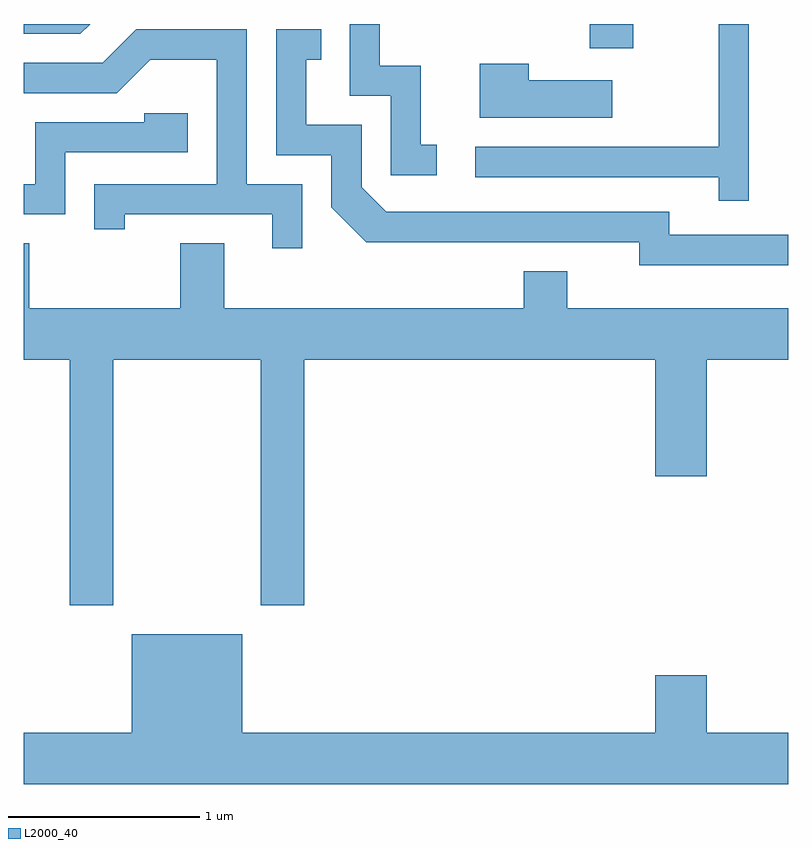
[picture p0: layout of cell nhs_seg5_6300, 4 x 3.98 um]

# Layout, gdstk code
import gdstk
lib = gdstk.Library(unit=1e-6, precision=1e-09)
def R(c, l, rs):  # rectangles x0, y0, x1, y1
    for r in rs: c.add(gdstk.rectangle(r[:2], r[2:], *l))
def P(c, l, *ps):  # polygons
    for p in ps: c.add(gdstk.Polygon(p, *l))
L2000_40 = (2000, 40)

nhs_seg5_6300 = lib.new_cell('nhs_seg5_6300')
R(nhs_seg5_6300, L2000_40, [(374.571,1493.946,374.799,1494.072)])
P(nhs_seg5_6300, L2000_40, [(373.773,1493.439),(373.689,1493.439),(373.689,1493.854),(373.474,1493.854),(373.474,1494.072),(373.316,1494.072),(373.316,1493.696),(373.531,1493.696),(373.531,1493.281),(373.773,1493.281)],
  [(371.958,1494.072),(371.611,1494.072),(371.611,1494.021),(371.907,1494.021)],
  [(375.404,1494.072),(375.246,1494.072),(375.246,1493.429),(373.973,1493.429),(373.973,1493.271),(375.246,1493.271),(375.246,1493.148),(375.404,1493.148)],
  [(373.069,1493.234),(372.779,1493.234),(372.779,1494.044),(372.199,1494.044),(372.024,1493.869),(371.611,1493.869),(371.611,1493.711),(372.097,1493.711),(372.272,1493.886),(372.621,1493.886),(372.621,1493.234),(371.981,1493.234),(371.981,1492.998),(372.139,1492.998),(372.139,1493.076),(372.911,1493.076),(372.911,1492.898),(373.069,1492.898)],
  [(375.611,1492.969),(374.989,1492.969),(374.989,1493.089),(373.507,1493.089),(373.379,1493.217),(373.379,1493.544),(373.089,1493.544),(373.089,1493.886),(373.168,1493.886),(373.168,1494.044),(372.931,1494.044),(372.931,1493.386),(373.221,1493.386),(373.221,1493.114),(373.404,1492.931),(374.831,1492.931),(374.831,1492.811),(375.611,1492.811)],
  [(374.689,1493.779),(374.254,1493.779),(374.254,1493.864),(373.996,1493.864),(373.996,1493.581),(374.689,1493.581)],
  [(371.829,1493.401),(372.469,1493.401),(372.469,1493.604),(372.241,1493.604),(372.241,1493.559),(371.671,1493.559),(371.671,1493.234),(371.611,1493.234),(371.611,1493.076),(371.829,1493.076)],
  [(372.079,1492.316),(372.851,1492.316),(372.851,1491.031),(373.079,1491.031),(373.079,1492.316),(374.916,1492.316),(374.916,1491.706),(375.184,1491.706),(375.184,1492.316),(375.611,1492.316),(375.611,1492.584),(374.454,1492.584),(374.454,1492.779),(374.226,1492.779),(374.226,1492.584),(372.659,1492.584),(372.659,1492.924),(372.431,1492.924),(372.431,1492.584),(371.639,1492.584),(371.639,1492.924),(371.611,1492.924),(371.611,1492.316),(371.851,1492.316),(371.851,1491.031),(372.079,1491.031)],
  [(375.611,1490.364),(375.184,1490.364),(375.184,1490.664),(374.916,1490.664),(374.916,1490.364),(372.754,1490.364),(372.754,1490.879),(372.176,1490.879),(372.176,1490.364),(371.611,1490.364),(371.611,1490.096),(375.611,1490.096)])

lib.write_gds('nhs_seg5_6300.gds')
